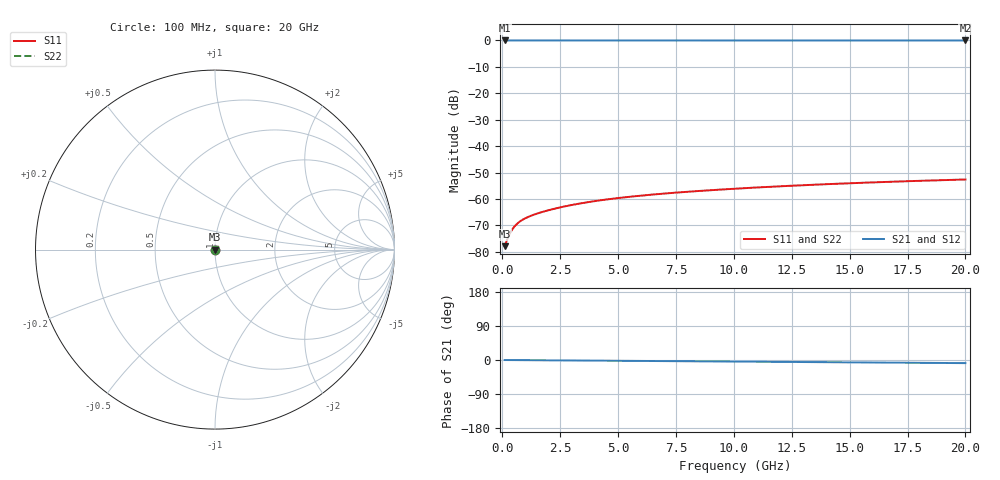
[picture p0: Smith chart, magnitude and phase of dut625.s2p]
! Touchstone file exported from HFSS 2026.1.0
!  File:  C:/ffzhzh/LocalFiles/Ansys_Project_Files/temp_train_TSV_625_1783026088_4048.aedt
!  Generated:  05:03:15 AM Jul  3, 2026
!  Design:  TSV
!  Project:  temp_train_TSV_625_1783026088_4048
! Variables:
!  h_bsmrdl = 2um
!  h_ox = 20um
!  h_rdl = 5um
!  h_sub = 83.01um
!  h_tmrdl = 5um
!  h_tsv = 83.01um
!  h_via = 3um
!  l_bsmrdl = 300um
!  l_sub = 421.7um
!  l_tmrdl = 200um
!  m_sub = 200um
!  pitch = 44.37um
!  r_tsv = 10.85um
!  s_tmrdl = 10um
!  w_bsmrdl = 18um
!  w_sub = 500um
!  w_tmrdl = 12um
!  x_tsv_center1 = 206um
!  x_tsv_center2 = 524um
!  x_tsv_center3 = 736um
!  x_tsv_center4 = 1054um
!  x_tsv_center5 = 1266um
!  x_tsv_center6 = 1584um
# GHz S MA R 50.000000
! Terminal data exported
! Port[1] = TSV1_1_T1
! Port[2] = TSV1_1_T2
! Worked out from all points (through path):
!   200 points, 100 MHz to 20 GHz, reference 50 ohm
!   highest |S21| = 0.00 dB at 100 MHz (marker M1); lowest = 0.0 dB at 20 GHz (marker M2)
!   group delay of S21, straight-line fit = 1.14 ps
!   lowest |S11| = -77.9 dB at 100 MHz (marker M3), VSWR 1.00, Z = 50 + j0.00537 ohm
!   |S11| at or under -10 dB: start of sweep to end of sweep
!   |S22| runs from -77.9 to -52.6 dB; largest |S21 - S12| = 3.1e-15
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0.1  0.0001281 24.8  0.9999 -0.0  0.9999 -0.0  0.0001281 24.8
! Gamma 0 0 0 0
! Port Impedance 50 0 50 0
0.2  0.0001661 38.7  0.9999 -0.1  0.9999 -0.1  0.0001661 38.7
0.3  0.0002103 44.8  0.9999 -0.1  0.9999 -0.1  0.0002103 44.8
0.4  0.0002534 47.2  0.9998 -0.2  0.9998 -0.2  0.0002534 47.2
0.5  0.0002926 47.9  0.9998 -0.2  0.9998 -0.2  0.0002926 47.9
0.6  0.0003275 48.0  0.9998 -0.3  0.9998 -0.3  0.0003275 48.0
0.7  0.0003585 47.8  0.9998 -0.3  0.9998 -0.3  0.0003585 47.8
0.9  0.0004109 47.4  0.9997 -0.4  0.9997 -0.4  0.0004109 47.4
1.1  0.0004547 47.2  0.9997 -0.5  0.9997 -0.5  0.0004547 47.2
1.3  0.0004936 47.3  0.9997 -0.5  0.9997 -0.5  0.0004936 47.3
1.6  0.000547 47.8  0.9996 -0.7  0.9996 -0.7  0.000547 47.8
1.9  0.0005974 48.4  0.9996 -0.8  0.9996 -0.8  0.0005974 48.4
2.7  0.0007247 49.8  0.9995 -1.1  0.9995 -1.1  0.0007247 49.8
3.5  0.0008435 50.5  0.9995 -1.5  0.9995 -1.5  0.0008435 50.5
4.2  0.0009399 50.8  0.9994 -1.8  0.9994 -1.8  0.0009399 50.8
5  0.001042 51.0  0.9994 -2.1  0.9994 -2.1  0.001042 51.0
6.8  0.001247 51.0  0.9993 -2.8  0.9993 -2.8  0.001247 51.0
8.3  0.0014 51.0  0.9992 -3.4  0.9992 -3.4  0.0014 51.0
10.1  0.001571 51.0  0.9991 -4.2  0.9991 -4.2  0.001571 51.0
13.4  0.001858 50.6  0.999 -5.5  0.999 -5.5  0.001858 50.6
16.7  0.002114 49.9  0.9989 -6.9  0.9989 -6.9  0.002114 49.9
20  0.002339 49.0  0.9987 -8.2  0.9987 -8.2  0.002339 49.0
